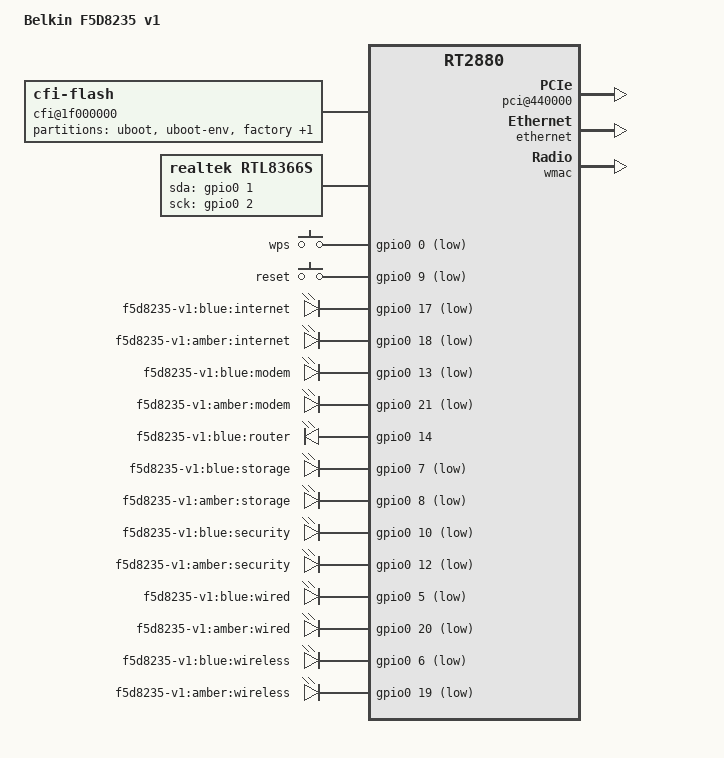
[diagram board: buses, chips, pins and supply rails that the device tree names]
/dts-v1/;

#include "rt2880.dtsi"

#include <dt-bindings/gpio/gpio.h>
#include <dt-bindings/input/input.h>

/ {
	#address-cells = <1>;
	#size-cells = <1>;
	compatible = "F5D8235_V1", "ralink,rt2880-soc";
	model = "Belkin F5D8235 v1";

	pci@440000 {
		status = "ok";
	};

	cfi@1f000000 {
		compatible = "cfi-flash";
		reg = <0xbc400000 0x800000>;
		bank-width = <2>;
		device-width = <2>;
		#address-cells = <1>;
		#size-cells = <1>;

		partition@0 {
			label = "uboot";
			reg = <0x0 0x30000>;
			read-only;
		};

		partition@30000 {
			label = "uboot-env";
			reg = <0x30000 0x10000>;
			read-only;
		};

		factory: partition@40000 {
			label = "factory";
			reg = <0x40000 0x10000>;
			read-only;
		};

		partition@50000 {
			label = "firmware";
			reg = <0x50000 0x7b0000>;
		};
	};

	rtl8366s {
		compatible = "realtek,rtl8366s";
		gpio-sda = <&gpio0 1 GPIO_ACTIVE_HIGH>;
		gpio-sck = <&gpio0 2 GPIO_ACTIVE_HIGH>;
	};

	gpio-keys-polled {
		compatible = "gpio-keys-polled";
		#address-cells = <1>;
		#size-cells = <0>;
		poll-interval = <100>;

		wps {
			label = "wps";
			gpios = <&gpio0 0 GPIO_ACTIVE_LOW>;
			linux,code = <KEY_WPS_BUTTON>;
		};

		reset {
			label = "reset";
			gpios = <&gpio0 9 GPIO_ACTIVE_LOW>;
			linux,code = <KEY_RESTART>;
		};
	};

	gpio-leds {
		compatible = "gpio-leds";

		internet {
			label = "f5d8235-v1:blue:internet";
			gpios = <&gpio0 17 GPIO_ACTIVE_LOW>;
		};

		internet2 {
			label = "f5d8235-v1:amber:internet";
			gpios = <&gpio0 18 GPIO_ACTIVE_LOW>;
		};

		modem {
			label = "f5d8235-v1:blue:modem";
			gpios = <&gpio0 13 GPIO_ACTIVE_LOW>;
		};

		modem2 {
			label = "f5d8235-v1:amber:modem";
			gpios = <&gpio0 21 GPIO_ACTIVE_LOW>;
		};

		router {
			label = "f5d8235-v1:blue:router";
			gpios = <&gpio0 14 GPIO_ACTIVE_HIGH>;
		};

		storage {
			label = "f5d8235-v1:blue:storage";
			gpios = <&gpio0 7 GPIO_ACTIVE_LOW>;
		};

		storage2 {
			label = "f5d8235-v1:amber:storage";
			gpios = <&gpio0 8 GPIO_ACTIVE_LOW>;
		};

		security {
			label = "f5d8235-v1:blue:security";
			gpios = <&gpio0 10 GPIO_ACTIVE_LOW>;
		};

		security2 {
			label = "f5d8235-v1:amber:security";
			gpios = <&gpio0 12 GPIO_ACTIVE_LOW>;
		};

		wired {
			label = "f5d8235-v1:blue:wired";
			gpios = <&gpio0 5 GPIO_ACTIVE_LOW>;
		};

		wired2 {
			label = "f5d8235-v1:amber:wired";
			gpios = <&gpio0 20 GPIO_ACTIVE_LOW>;
		};

		wireless {
			label = "f5d8235-v1:blue:wireless";
			gpios = <&gpio0 6 GPIO_ACTIVE_LOW>;
		};

		wireless2 {
			label = "f5d8235-v1:amber:wireless";
			gpios = <&gpio0 19 GPIO_ACTIVE_LOW>;
		};
	};
};

&gpio0 {
	status = "okay";
};

&pinctrl {
	state_default: pinctrl0 {
		gpio {
			ralink,group = "spi", "i2c", "jtag", "mdio", "uartlite";
			ralink,function = "gpio";
		};
	};
};

&ethernet {
	status = "okay";
	mtd-mac-address = <&factory 0x4>;

	port@0 {
		mediatek,fixed-link = <1000 1 1 1>;
	};
};

&wmac {
	status = "okay";
	ralink,mtd-eeprom = <&factory 0x0>;
};
